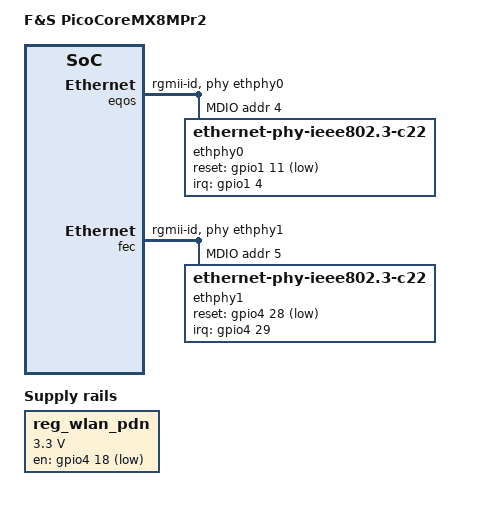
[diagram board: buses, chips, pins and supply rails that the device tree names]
/*
 * Copyright (C) 2021 F&S Elektronik Systeme GmbH
 *
 * This program is free software; you can redistribute it and/or modify
 * it under the terms of the GNU General Public License version 2 as
 * published by the Free Software Foundation.
 */

/dts-v1/;

/* Set board revision as 3-digit number, e.g. 110 for board rev. 1.10 */
#define CONFIG_PICOCOREMX8MP_BOARD_REVISION	100
/* Set baseboard revision as 3-digit number, e.g. 110 for board rev. 1.10 */
#define CONFIG_PICOCOREBBDSI_BOARD_REVISION	140
//#define SUPPORT_M7

/* HDMI */
//#define CONFIG_PICOCOREMX8MP_HDMI

/* Network */
#define CONFIG_PICOCOREMX8MP_ETH_A
#define CONFIG_PICOCOREMX8MP_ETH_B

/* WLAN/BLUETOOTH; either WLAN-only or combined WLAN/Bluetooth chip */
#define CONFIG_PICOCOREMX8MP_WLAN
#define CONFIG_PICOCOREMX8MP_WLAN_MARVELL_DRV

/* USB */
#define CONFIG_PICOCOREMX8MP_USB_OTG
//#define CONFIG_PICOCOREMX8MP_USB_OTG_PWR
#define CONFIG_PICOCOREMX8MP_USB_HOST

/* EEPROM - default not mounted */
#define CONFIG_PICOCOREMX8MP_EEPROM

/* PCIe */
#define CONFIG_PICOCOREMX8MP_PCIE

/* CAN - default not mounted */
#define CONFIG_PICOCOREMX8MP_CAN_A
#define CONFIG_PICOCOREMX8MP_CAN_B

/* I2C */
/* default CAN_B */
#define CONFIG_PICOCOREMX8MP_I2C_A
#define CONFIG_PICOCOREMX8MP_I2C_B
#define CONFIG_PICOCOREMX8MP_I2C_C
#define CONFIG_PICOCOREMX8MP_I2C_D
#define CONFIG_PICOCOREMX8MP_I2C_E
//#define CONFIG_PICOCOREMX8MP_I2C_D_A71CH

/* PWM and backlight brightness */
#define CONFIG_PICOCOREMX8MP_PWM_A
#define CONFIG_PICOCOREMX8MP_BL_CTRL

/* UART_A - UART2 */
#define CONFIG_PICOCOREMX8MP_UART_A
#define CONFIG_PICOCOREMX8MP_UART_A_RTSCTS

/* UART_B - UART4 */
#define CONFIG_PICOCOREMX8MP_UART_B
#define CONFIG_PICOCOREMX8MP_UART_B_RTSCTS

/* UART_C - UART1 */
#define CONFIG_PICOCOREMX8MP_UART_C

/* UART_D - UART3 */
#define CONFIG_PICOCOREMX8MP_UART_D

/* SPI */
#define CONFIG_PICOCOREMX8MP_SPI_A
#define CONFIG_PICOCOREMX8MP_SPI_B
#define CONFIG_PICOCOREMX8MP_SPI_C

/* Audio */
#define CONFIG_PICOCOREMX8MP_I2S_A
#define CONFIG_PICOCOREMX8MP_I2S_B
/* SGTL5000 needs I2S_A */
#define CONFIG_PICOCOREMX8MP_SGTL5000_AUDIO


/* External RTC - default not mounted */
#define CONFIG_PICOCOREMX8MP_EXT_RTC

#define CONFIG_PICOCOREMX8MP_CAMERA

/* Camera on parallel CSI interface */
//#define CONFIG_PICOCOREMX8MP_PARALLEL_CAMERA

/* Camera on serial MIPI CSI interface */
//#define CONFIG_PICOCOREMX8MP_SERIAL_CAMERA

/*
 * SD_A - External SD port with Card Detect (CD) and Write Protect (WP)
 * On picocoremx8mp SKIT: external port is Micro-SD card slot with CD but without WP
 */
#define CONFIG_PICOCOREMX8MP_SD_A
#define CONFIG_PICOCOREMX8MP_SD_A_CD
//#define CONFIG_PICOCOREMX8MP_SD_A_WP
//#define CONFIG_PICOCOREMX8MP_SD_A_8_Bit

/*
 * SD_B - External SD port with Card Detect (CD) and Write Protect (WP)
 * only available if WLAN is not equipped.
 */
#define CONFIG_PICOCOREMX8MP_SD_B
#define CONFIG_PICOCOREMX8MP_SD_B_CD
#define CONFIG_PICOCOREMX8MP_SD_B_WP

/* HIFI4 DSP */
//#define CONFIG_PICOCOREMX8MP_DSP

/* If WLAN is equipped, SD_B is not available */
#ifdef CONFIG_PICOCOREMX8MP_WLAN
#undef CONFIG_PICOCOREMX8MP_SD_B
#undef CONFIG_PICOCOREMX8MP_SD_B_CD
#undef CONFIG_PICOCOREMX8MP_SD_B_WP
#endif

#ifdef CONFIG_PICOCOREMX8MP_HDMI
#define CONFIG_PICOCOREMX8MP_HDMI_CEC
#define CONFIG_PICOCOREMX8MP_HDMI_HPD
#undef CONFIG_PICOCOREMX8MP_I2C_A
#undef CONFIG_PICOCOREMX8MP_CAN_B
#undef CONFIG_PICOCOREMX8MP_CAN_A
#endif

#ifdef CONFIG_PICOCOREMX8MP_CAN_B
#undef CONFIG_PICOCOREMX8MP_I2C_A
#undef CONFIG_PICOCOREMX8MP_HDMI_CEC
#undef CONFIG_PICOCOREMX8MP_HDMI_HPD
#endif

#ifdef CONFIG_PICOCOREMX8MP_I2C_A
#undef CONFIG_PICOCOREMX8MP_CAN_B
#undef CONFIG_PICOCOREMX8MP_HDMI_CEC
#undef CONFIG_PICOCOREMX8MP_HDMI_HPD
#endif

#ifdef CONFIG_PICOCOREMX8MP_SGTL5000_AUDIO
#define CONFIG_PICOCOREMX8MP_I2S_A
#endif

/*
 * Exclude devices from Linux that are used by the Cortex-M7 FreeRTOS examples
 *
 * - UART_C: Debug Console for Cortex-M7
 * - PWM_A: PWM Signal for the PWM example
 * - CAN_A: CAN-Signal for FlexCAN examples
 * - I2C_A:  I2C Bus used in I2C examples
 * - SPI_B:  SPI_B is used for ECSPI examples
 *
 */

#ifdef SUPPORT_M7
#undef CONFIG_PICOCOREMX8MP_UART_C
#undef CONFIG_PICOCOREMX8MP_PWM_A
#undef CONFIG_PICOCOREMX8MP_CAN_A
#undef CONFIG_PICOCOREMX8MP_I2C_A
#undef CONFIG_PICOCOREMX8MP_SPI_B
#endif

#include "picocoremx8mp.dtsi"

/ {
	model = "F&S PicoCoreMX8MPr2";

#ifdef CONFIG_PICOCOREMX8MP_WLAN
	reg_wlan_pdn: regulator-usdhc2-wlan {
		compatible = "regulator-fixed";
		regulator-name = "WLAN_RESET";
		regulator-min-microvolt = <3300000>;
		regulator-max-microvolt = <3300000>;
		gpio = <&gpio4 18 GPIO_ACTIVE_HIGH>;
		off-on-delay-us = <1000>;
		enable-active-low;
	};
#endif
};

/* -------------------- BOARD INFO -------------------- */
&bdinfo {
	board_name = "picocoremx8mpr2";
};

#ifdef CONFIG_PICOCOREMX8MP_ETH_A
&eqos {
	pinctrl-names = "default";
	pinctrl-0 = <&pinctrl_eqos>;
	phy-mode = "rgmii-id";
	phy-handle = <&ethphy0>;
	snps,force_thresh_dma_mode;
	snps,mtl-tx-config = <&mtl_tx_setup>;
	snps,mtl-rx-config = <&mtl_rx_setup>;
	status = "okay";

	mdio {
		compatible = "snps,dwmac-mdio";
		#address-cells = <1>;
		#size-cells = <0>;

		ethphy0: ethernet-phy@4 {
			compatible = "ethernet-phy-ieee802.3-c22";
			reg = <4>;
			rtl821x,clkout-disable;
			rtl821x,aldps-enable;
			rtl821x,ssc-rxc-enable;
			rtl821x,ssc-sysclk-enable;
			rtl821x,ssc-clkout-enable;
			rtl821x,led-link = <1>; // LED1 for link indication
			rtl821x,led-act = <1>; // LED1 for activity
			reset-gpios = <&gpio1 11 GPIO_ACTIVE_LOW>;
			reset-assert-us = <10000>;
			reset-deassert-us = <50000>;
			interrupt-parent = <&gpio1>;
			interrupts = <4 IRQ_TYPE_LEVEL_LOW>;
			eee-broken-1000t;
		};
	};

	mtl_tx_setup: tx-queues-config {
		snps,tx-queues-to-use = <5>;
		snps,tx-sched-sp;
		queue0 {
			snps,dcb-algorithm;
			snps,priority = <0x1>;
		};
		queue1 {
			snps,dcb-algorithm;
			snps,priority = <0x2>;
		};
		queue2 {
			snps,dcb-algorithm;
			snps,priority = <0x4>;
		};
		queue3 {
			snps,dcb-algorithm;
			snps,priority = <0x8>;
		};
		queue4 {
			snps,dcb-algorithm;
			snps,priority = <0xf0>;
		};
	};
	mtl_rx_setup: rx-queues-config {
		snps,rx-queues-to-use = <5>;
		snps,rx-sched-sp;
		queue0 {
			snps,dcb-algorithm;
			snps,priority = <0x1>;
			snps,map-to-dma-channel = <0>;
		};
		queue1 {
			snps,dcb-algorithm;
			snps,priority = <0x2>;
			snps,map-to-dma-channel = <1>;
		};
		queue2 {
			snps,dcb-algorithm;
			snps,priority = <0x4>;
			snps,map-to-dma-channel = <2>;
		};
		queue3 {
			snps,dcb-algorithm;
			snps,priority = <0x8>;
			snps,map-to-dma-channel = <3>;
		};
		queue4 {
			snps,dcb-algorithm;
			snps,priority = <0xf0>;
			snps,map-to-dma-channel = <4>;
		};
	};
};
#endif /* CONFIG_PICOCOREMX8MP_ETH_A */

#ifdef CONFIG_PICOCOREMX8MP_ETH_B
&fec {
	pinctrl-names = "default";
	pinctrl-0 = <&pinctrl_fec>;
	phy-mode = "rgmii-id";
	phy-handle = <&ethphy1>;
	fsl,magic-packet;
	status = "okay";

	mdio {
		#address-cells = <1>;
		#size-cells = <0>;

		ethphy1: ethernet-phy@5 {
			compatible = "ethernet-phy-ieee802.3-c22";
			reg = <5>;
			rtl821x,clkout-disable;
			rtl821x,aldps-enable;
			rtl821x,ssc-rxc-enable;
			rtl821x,ssc-sysclk-enable;
			rtl821x,ssc-clkout-enable;
			rtl821x,led-link = <1>; // LED1 for link indication
			rtl821x,led-act = <1>; // LED1 for activity
			reset-gpios = <&gpio4 28 GPIO_ACTIVE_LOW>;
			reset-assert-us = <10000>;
			reset-deassert-us = <50000>;
			interrupt-parent = <&gpio4>;
			interrupts = <29 IRQ_TYPE_LEVEL_LOW>;
			eee-broken-1000t;
		};
	};


};
#endif /* CONFIG_PICOCOREMX8MP_ETH_B */

&iomuxc {
	pinctrl-names = "default";
	pinctrl-0 = <&pinctrl_hog>;

#ifdef CONFIG_PICOCOREMX8MP_ETH_A
	pinctrl_eqos: eqosgrp {
		fsl,pins = <
			MX8MP_IOMUXC_ENET_MDC__ENET_QOS_MDC	0x3
			MX8MP_IOMUXC_ENET_MDIO__ENET_QOS_MDIO	0x3
			MX8MP_IOMUXC_ENET_RD0__ENET_QOS_RGMII_RD0	0x91
			MX8MP_IOMUXC_ENET_RD1__ENET_QOS_RGMII_RD1	0x91
			MX8MP_IOMUXC_ENET_RD2__ENET_QOS_RGMII_RD2	0x91
			MX8MP_IOMUXC_ENET_RD3__ENET_QOS_RGMII_RD3	0x91
			MX8MP_IOMUXC_ENET_RXC__CCM_ENET_QOS_CLOCK_GENERATE_RX_CLK	0x91
			MX8MP_IOMUXC_ENET_RX_CTL__ENET_QOS_RGMII_RX_CTL	0x91
			MX8MP_IOMUXC_ENET_TD0__ENET_QOS_RGMII_TD0		0x1f
			MX8MP_IOMUXC_ENET_TD1__ENET_QOS_RGMII_TD1		0x1f
			MX8MP_IOMUXC_ENET_TD2__ENET_QOS_RGMII_TD2		0x1f
			MX8MP_IOMUXC_ENET_TD3__ENET_QOS_RGMII_TD3		0x1f
			MX8MP_IOMUXC_ENET_TX_CTL__ENET_QOS_RGMII_TX_CTL	0x1f
			MX8MP_IOMUXC_ENET_TXC__CCM_ENET_QOS_CLOCK_GENERATE_TX_CLK	0x1f
			/* ETH_A_PHY_INTn */
			MX8MP_IOMUXC_GPIO1_IO04__GPIO1_IO04		0x19
			/* ETH_A_PHY_RSTn */
			MX8MP_IOMUXC_GPIO1_IO11__GPIO1_IO11		0x19
		>;
	};
#endif /* CONFIG_PICOCOREMX8MP_ETH_A */

#ifdef CONFIG_PICOCOREMX8MP_ETH_B
	pinctrl_fec: fecgrp {
		fsl,pins = <
			MX8MP_IOMUXC_SAI1_RXD2__ENET1_MDC		0x3
			MX8MP_IOMUXC_SAI1_RXD3__ENET1_MDIO		0x3
			MX8MP_IOMUXC_SAI1_RXD4__ENET1_RGMII_RD0		0x91
			MX8MP_IOMUXC_SAI1_RXD5__ENET1_RGMII_RD1		0x91
			MX8MP_IOMUXC_SAI1_RXD6__ENET1_RGMII_RD2		0x91
			MX8MP_IOMUXC_SAI1_RXD7__ENET1_RGMII_RD3		0x91
			MX8MP_IOMUXC_SAI1_TXC__ENET1_RGMII_RXC		0x91
			MX8MP_IOMUXC_SAI1_TXFS__ENET1_RGMII_RX_CTL	0x91
			MX8MP_IOMUXC_SAI1_TXD0__ENET1_RGMII_TD0		0x1f
			MX8MP_IOMUXC_SAI1_TXD1__ENET1_RGMII_TD1		0x1f
			MX8MP_IOMUXC_SAI1_TXD2__ENET1_RGMII_TD2		0x1f
			MX8MP_IOMUXC_SAI1_TXD3__ENET1_RGMII_TD3		0x1f
			MX8MP_IOMUXC_SAI1_TXD4__ENET1_RGMII_TX_CTL	0x1f
			MX8MP_IOMUXC_SAI1_TXD5__ENET1_RGMII_TXC		0x1f
			/* ETH_B_PHY_INTn */
			MX8MP_IOMUXC_SAI3_RXC__GPIO4_IO29		0x19
			/* ETH_B_PHY_RSTn */
			MX8MP_IOMUXC_SAI3_RXFS__GPIO4_IO28		0x19
		>;
	};
#endif /* CONFIG_PICOCOREMX8MP_ETH_B */
};
